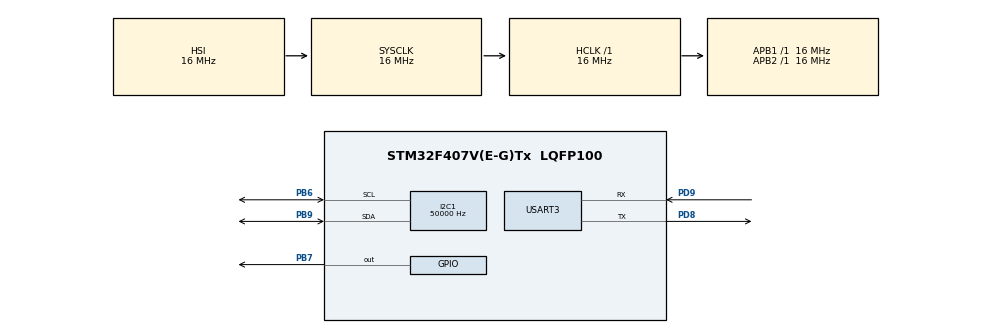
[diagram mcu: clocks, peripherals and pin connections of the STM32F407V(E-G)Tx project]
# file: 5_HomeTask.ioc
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I2C1.ClockSpeed=50000
Mcu.Family=STM32F4
Mcu.Name=STM32F407V(E-G)Tx
Mcu.Package=LQFP100
NVIC.PriorityGroup=NVIC_PRIORITYGROUP_4
PB6.Mode=I2C
PB6.Signal=I2C1_SCL
PB7.Signal=GPIO_Output
PB9.Mode=I2C
PB9.Signal=I2C1_SDA
PD8.Mode=Asynchronous
PD8.Signal=USART3_TX
PD9.Mode=Asynchronous
PD9.Signal=USART3_RX
ProjectManager.HeapSize=0x200
ProjectManager.StackSize=0x400
ProjectManager.TargetToolchain=STM32CubeIDE
RCC.AHBFreq_Value=16000000
RCC.APB1Freq_Value=16000000
RCC.APB2Freq_Value=16000000
RCC.CortexFreq_Value=16000000
RCC.HSE_VALUE=25000000
RCC.HSI_VALUE=16000000
RCC.LSE_VALUE=32768
RCC.SYSCLKFreq_VALUE=16000000
RCC.VCOOutputFreq_Value=192000000
USART3.VirtualMode=VM_ASYNC
board=custom

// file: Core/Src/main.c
/* USER CODE BEGIN Header */
/**
 ******************************************************************************
 * @file           : main.c
 * @brief          : Main program body
 ******************************************************************************
 * @attention
 *
 * <h2><center>&copy; Copyright (c) 2021 STMicroelectronics.
 * All rights reserved.</center></h2>
 *
 * This software component is licensed by ST under BSD 3-Clause license,
 * the "License"; You may not use this file except in compliance with the
 * License. You may obtain a copy of the License at:
 *                        opensource.org/licenses/BSD-3-Clause
 *
 ******************************************************************************
 */
/* USER CODE END Header */
#include "main.h"
#include <stdlib.h>
/* USER CODE BEGIN Includes */
#include "PCA9685.h"
/* USER CODE END Includes */

I2C_HandleTypeDef hi2c1;

UART_HandleTypeDef huart3;

/* USER CODE BEGIN PV */

const uint16_t PCA9685_ID = 0x80; //PCA9685 I2C bus adress
uint8_t delay = 0; //%
uint8_t dutyCycle = 0; //%
uint16_t frequency = 200; //default value of PWM frequency
uint8_t onOffAllChannels = 0; //switch on/off all channels
uint8_t sleepMode = 0; //switch on/off sleep mode

/* USER CODE END PV */

void SystemClock_Config(void);
static void MX_GPIO_Init(void);
static void MX_I2C1_Init(void);
static void MX_USART3_UART_Init(void);
void UART_Text(uint8_t onOffAllChannels, uint16_t frequency, uint8_t delay, uint8_t dutyCycle, uint8_t sleepMode);

int main(void)
{

	/* MCU Configuration--------------------------------------------------------*/

	/* Reset of all peripherals, Initializes the Flash interface and the Systick. */
	HAL_Init();

	/* Configure the system clock */
	SystemClock_Config();

	/* Initialize all configured peripherals */
	MX_GPIO_Init();
	MX_I2C1_Init();
	MX_USART3_UART_Init();
	/* USER CODE BEGIN 2 */

	PCA9685_Init(&hi2c1, PCA9685_ID);
	UART_Text(onOffAllChannels, frequency, delay, dutyCycle, sleepMode);

	/*
	 PCA9685_Channel_Set(&hi2c1, PCA9685_ID, LED0, 0, 50);//individually configurable PWM channels
	 PCA9685_Channel_Reset(&hi2c1, PCA9685_ID, LED0);//individually reset PWM channels
	 */

	/* USER CODE END 2 */

	/* Infinite loop */
	/* USER CODE BEGIN WHILE */
	while (1)
	{
		uint8_t rcvBuf[1];
		HAL_StatusTypeDef result;
		result = HAL_UART_Receive(&huart3, rcvBuf, 1, 10);
		if (result == HAL_OK)
		{
			switch (rcvBuf[0])
			{
			case '1':
			{
				if (onOffAllChannels == 1)
				{
					delay = (delay < 100) ? (delay + 1) : delay;
					delay = (delay > (100 - dutyCycle)) ? (100 - dutyCycle) : delay; // dutyCycle + delay <= 100%. If not, the delay variable value will be adjusted.
				}
				else
					delay = 0;
				PCA9685_Channel_Set_All(&hi2c1, PCA9685_ID, delay, dutyCycle);
			}
				break;

			case '2':
			{
				if (onOffAllChannels == 1)
				{
					delay = (delay > 0) ? (delay - 1) : delay;
					delay = (delay > (100 - dutyCycle)) ? (100 - dutyCycle) : delay; // dutyCycle + delay <= 100%. If not, the delay variable value will be adjusted.
				}
				else
					delay = 0;
				PCA9685_Channel_Set_All(&hi2c1, PCA9685_ID, delay, dutyCycle);
			}
				break;

			case '3':
			{
				if (onOffAllChannels == 1)
				{
					dutyCycle = (dutyCycle < 100) ? (dutyCycle + 1) : dutyCycle;
					dutyCycle = (dutyCycle > (100 - delay)) ? (100 - delay) : dutyCycle; // dutyCycle + delay <= 100%. If not, the dutyCycle variable value will be adjusted.
				}
				else
					dutyCycle = 0;
				PCA9685_Channel_Set_All(&hi2c1, PCA9685_ID, delay, dutyCycle);
			}
				break;

			case '4':
			{
				if (onOffAllChannels == 1)
				{
					dutyCycle = (dutyCycle > 0) ? (dutyCycle - 1) : dutyCycle;
					dutyCycle = (dutyCycle > (100 - delay)) ? (100 - delay) : dutyCycle; // dutyCycle + delay <= 100%. If not, the dutyCycle variable value will be adjusted.
				}
				else
					dutyCycle = 0;
				PCA9685_Channel_Set_All(&hi2c1, PCA9685_ID, delay, dutyCycle);
			}
				break;

			case '5':
			{
				frequency = (frequency < 1526) ? (frequency + 1) : frequency;
				PCA9685_Frequency_Set(&hi2c1, PCA9685_ID, frequency);
			}
				break;

			case '6':
			{
				frequency = (frequency > 23) ? (frequency - 1) : frequency;
				PCA9685_Frequency_Set(&hi2c1, PCA9685_ID, frequency);
			}
				break;

			case '7':
			{
				onOffAllChannels = (onOffAllChannels == 1) ? 0 : 1;
				if (onOffAllChannels == 1)
					PCA9685_Channel_Set_All(&hi2c1, PCA9685_ID, delay, dutyCycle);
				else
					PCA9685_Channel_Reset_All(&hi2c1, PCA9685_ID);
			}
				break;

			case '8':
			{
				sleepMode = (sleepMode == 1) ? 0 : 1;
				PCA9685_Sleep_Mode(&hi2c1, PCA9685_ID, sleepMode);
			}
				break;
			}
			UART_Text(onOffAllChannels, frequency, delay, dutyCycle, sleepMode);
		}
		/* USER CODE END WHILE */

	}
}

void SystemClock_Config(void)
{
	RCC_OscInitTypeDef RCC_OscInitStruct =
	{ 0 };
	RCC_ClkInitTypeDef RCC_ClkInitStruct =
	{ 0 };

	/** Configure the main internal regulator output voltage
	 */
	__HAL_RCC_PWR_CLK_ENABLE();
	__HAL_PWR_VOLTAGESCALING_CONFIG(PWR_REGULATOR_VOLTAGE_SCALE1);
	/** Initializes the RCC Oscillators according to the specified parameters
	 * in the RCC_OscInitTypeDef structure.
	 */
	RCC_OscInitStruct.OscillatorType = RCC_OSCILLATORTYPE_HSI;
	RCC_OscInitStruct.HSIState = RCC_HSI_ON;
	RCC_OscInitStruct.HSICalibrationValue = RCC_HSICALIBRATION_DEFAULT;
	RCC_OscInitStruct.PLL.PLLState = RCC_PLL_NONE;
	if (HAL_RCC_OscConfig(&RCC_OscInitStruct) != HAL_OK)
	{
		Error_Handler();
	}
	/** Initializes the CPU, AHB and APB buses clocks
	 */
	RCC_ClkInitStruct.ClockType = RCC_CLOCKTYPE_HCLK | RCC_CLOCKTYPE_SYSCLK | RCC_CLOCKTYPE_PCLK1 | RCC_CLOCKTYPE_PCLK2;
	RCC_ClkInitStruct.SYSCLKSource = RCC_SYSCLKSOURCE_HSI;
	RCC_ClkInitStruct.AHBCLKDivider = RCC_SYSCLK_DIV1;
	RCC_ClkInitStruct.APB1CLKDivider = RCC_HCLK_DIV1;
	RCC_ClkInitStruct.APB2CLKDivider = RCC_HCLK_DIV1;

	if (HAL_RCC_ClockConfig(&RCC_ClkInitStruct, FLASH_LATENCY_0) != HAL_OK)
	{
		Error_Handler();
	}
}

static void MX_I2C1_Init(void)
{

	hi2c1.Instance = I2C1;
	hi2c1.Init.ClockSpeed = 50000;
	hi2c1.Init.DutyCycle = I2C_DUTYCYCLE_2;
	hi2c1.Init.OwnAddress1 = 0;
	hi2c1.Init.AddressingMode = I2C_ADDRESSINGMODE_7BIT;
	hi2c1.Init.DualAddressMode = I2C_DUALADDRESS_DISABLE;
	hi2c1.Init.OwnAddress2 = 0;
	hi2c1.Init.GeneralCallMode = I2C_GENERALCALL_DISABLE;
	hi2c1.Init.NoStretchMode = I2C_NOSTRETCH_DISABLE;
	if (HAL_I2C_Init(&hi2c1) != HAL_OK)
	{
		Error_Handler();
	}

}

static void MX_USART3_UART_Init(void)
{

	huart3.Instance = USART3;
	huart3.Init.BaudRate = 115200;
	huart3.Init.WordLength = UART_WORDLENGTH_8B;
	huart3.Init.StopBits = UART_STOPBITS_1;
	huart3.Init.Parity = UART_PARITY_NONE;
	huart3.Init.Mode = UART_MODE_TX_RX;
	huart3.Init.HwFlowCtl = UART_HWCONTROL_NONE;
	huart3.Init.OverSampling = UART_OVERSAMPLING_16;
	if (HAL_UART_Init(&huart3) != HAL_OK)
	{
		Error_Handler();
	}

}

static void MX_GPIO_Init(void)
{
	GPIO_InitTypeDef GPIO_InitStruct =
	{ 0 };

	/* GPIO Ports Clock Enable */
	__HAL_RCC_GPIOD_CLK_ENABLE();
	__HAL_RCC_GPIOB_CLK_ENABLE();

	/*Configure GPIO pin Output Level */
	HAL_GPIO_WritePin(GPIOB, GPIO_PIN_7, GPIO_PIN_RESET);

	/*Configure GPIO pin : PB7 */
	GPIO_InitStruct.Pin = GPIO_PIN_7;
	GPIO_InitStruct.Mode = GPIO_MODE_OUTPUT_PP;
	GPIO_InitStruct.Pull = GPIO_NOPULL;
	GPIO_InitStruct.Speed = GPIO_SPEED_FREQ_LOW;
	HAL_GPIO_Init(GPIOB, &GPIO_InitStruct);

}

/* USER CODE BEGIN 4 */

void UART_Text(uint8_t onOffAllChannels, uint16_t frequency, uint8_t delay, uint8_t dutyCycle, uint8_t sleepMode)
{
	uint8_t clr_scr[5] =
	{ 0x1B, 0x5B, 0x32, 0x4A };
	HAL_UART_Transmit(&huart3, (uint8_t*) &clr_scr, 4, 10);
	HAL_UART_Transmit(&huart3, (uint8_t*) "Channels: all, ", 15, 10);
	if (onOffAllChannels == 1)
		HAL_UART_Transmit(&huart3, (uint8_t*) "on ", 4, 10);
	else
		HAL_UART_Transmit(&huart3, (uint8_t*) "off ", 4, 10);
	HAL_UART_Transmit(&huart3, (uint8_t*) "| frequency:", 12, 10);
	char frequency_str[4];
	itoa(frequency, frequency_str, 10);
	HAL_UART_Transmit(&huart3, (uint8_t*) &frequency_str, 4, 10);
	HAL_UART_Transmit(&huart3, (uint8_t*) "Hz | delay:", 11, 10);
	char delay_str[3];
	itoa(delay, delay_str, 10);
	HAL_UART_Transmit(&huart3, (uint8_t*) &delay_str, 3, 10);
	HAL_UART_Transmit(&huart3, (uint8_t*) "% | duty Cycle:", 15, 10);
	char dutyCycle_str[3];
	itoa(dutyCycle, dutyCycle_str, 10);
	HAL_UART_Transmit(&huart3, (uint8_t*) &dutyCycle_str, 3, 10);
	HAL_UART_Transmit(&huart3, (uint8_t*) "% | sleep mode:", 15, 10);
	if (sleepMode == 1)
		HAL_UART_Transmit(&huart3, (uint8_t*) "on", 2, 10);
	else
		HAL_UART_Transmit(&huart3, (uint8_t*) "off", 3, 10);
	HAL_UART_Transmit(&huart3, (uint8_t*) "\r\n", 2, 10);
	HAL_UART_Transmit(&huart3, (uint8_t*) "1/2 - +/- delay\r\n", 15 + 2, 10);
	HAL_UART_Transmit(&huart3, (uint8_t*) "3/4 - +/- duty cycle\r\n", 20 + 2, 10);
	HAL_UART_Transmit(&huart3, (uint8_t*) "5/6 - +/- PWM frequency\r\n", 23 + 2, 10);
	HAL_UART_Transmit(&huart3, (uint8_t*) "7 - enable/disable all channels\r\n", 31 + 2, 10);
	HAL_UART_Transmit(&huart3, (uint8_t*) "8 - sleep mode on/off\r\n", 21 + 2, 10);
	HAL_UART_Transmit(&huart3, (uint8_t*) "note: duty cycle + delay <=100%\r\n", 31 + 2, 10);
}

/* USER CODE END 4 */

void Error_Handler(void)
{
	__disable_irq();
	while (1)
	{
	}
}

/************************ (C) COPYRIGHT STMicroelectronics *****END OF FILE****/
